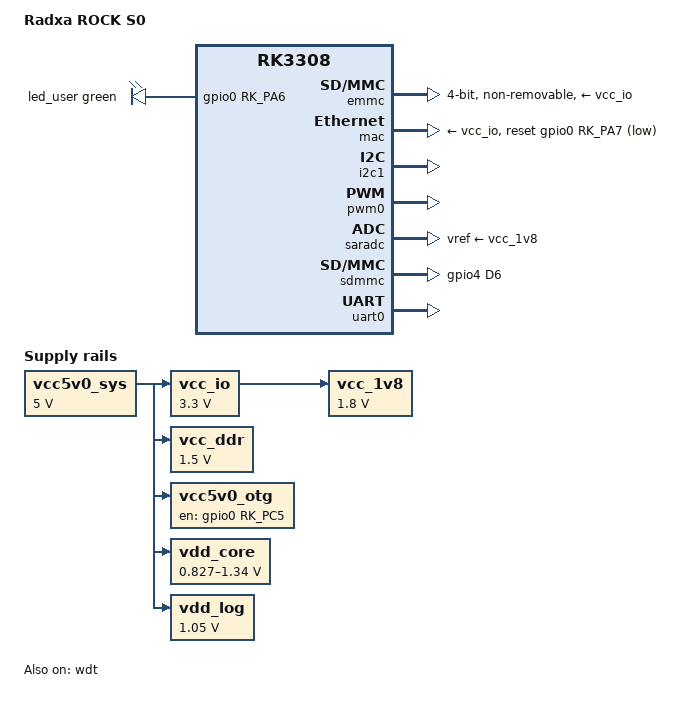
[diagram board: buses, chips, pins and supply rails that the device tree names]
// SPDX-License-Identifier: (GPL-2.0+ OR MIT)
/*
 * Copyright (c) 2019 Fuzhou Rockchip Electronics Co., Ltd
 * Copyright (C) 2023 Akash Gajjar <gajjar04akash@gmail.com>
 * Copyright (c) 2023 Jagan Teki <jagan@openedev.com>
 */

/dts-v1/;
#include <dt-bindings/gpio/gpio.h>
#include <dt-bindings/leds/common.h>
#include <dt-bindings/pinctrl/rockchip.h>
#include "rk3308.dtsi"

/ {
	model = "Radxa ROCK S0";
	compatible = "radxa,rock-s0", "rockchip,rk3308";

	aliases {
		ethernet0 = &mac;
		mmc0 = &emmc;
		mmc1 = &sdmmc;
	};

	chosen {
		stdout-path = "serial0:1500000n8";
	};

	gpio-leds {
		compatible = "gpio-leds";

		led_user: led-0 {
			gpios = <&gpio0 RK_PA6 GPIO_ACTIVE_HIGH>;
			function = LED_FUNCTION_HEARTBEAT;
			color = <LED_COLOR_ID_GREEN>;
			linux,default-trigger = "default-on";
			pinctrl-names = "default";
			pinctrl-0 = <&led_user_en>;
		};
	};

	vcc_1v8: vcc-1v8 {
		compatible = "regulator-fixed";
		regulator-name = "vcc_1v8";
		regulator-always-on;
		regulator-boot-on;
		regulator-min-microvolt = <1800000>;
		regulator-max-microvolt = <1800000>;
		vin-supply = <&vcc_io>;
	};

	vcc_io: vcc-io {
		compatible = "regulator-fixed";
		regulator-name = "vcc_io";
		regulator-always-on;
		regulator-boot-on;
		regulator-min-microvolt = <3300000>;
		regulator-max-microvolt = <3300000>;
		vin-supply = <&vcc5v0_sys>;
	};

	vcc_ddr: vcc-ddr {
		compatible = "regulator-fixed";
		regulator-name = "vcc_ddr";
		regulator-always-on;
		regulator-boot-on;
		regulator-min-microvolt = <1500000>;
		regulator-max-microvolt = <1500000>;
		vin-supply = <&vcc5v0_sys>;
	};

	vcc5v0_otg: vcc5v0-otg {
		compatible = "regulator-fixed";
		enable-active-high;
		gpio = <&gpio0 RK_PC5 GPIO_ACTIVE_HIGH>;
		pinctrl-names = "default";
		pinctrl-0 = <&otg_vbus_drv>;
		regulator-name = "vcc5v0_otg";
		regulator-always-on;
		vin-supply = <&vcc5v0_sys>;
	};

	vcc5v0_sys: vcc5v0-sys {
		compatible = "regulator-fixed";
		regulator-name = "vcc5v0_sys";
		regulator-always-on;
		regulator-boot-on;
		regulator-min-microvolt = <5000000>;
		regulator-max-microvolt = <5000000>;
	};

	vdd_core: vdd-core {
		compatible = "pwm-regulator";
		pwms = <&pwm0 0 5000 1>;
		pwm-supply = <&vcc5v0_sys>;
		regulator-name = "vdd_core";
		regulator-min-microvolt = <827000>;
		regulator-max-microvolt = <1340000>;
		regulator-init-microvolt = <1015000>;
		regulator-settling-time-up-us = <250>;
		regulator-always-on;
		regulator-boot-on;
	};

	vdd_log: vdd-log {
		compatible = "regulator-fixed";
		regulator-name = "vdd_log";
		regulator-always-on;
		regulator-boot-on;
		regulator-min-microvolt = <1050000>;
		regulator-max-microvolt = <1050000>;
		vin-supply = <&vcc5v0_sys>;
	};
};

&cpu0 {
	cpu-supply = <&vdd_core>;
};

&emmc {
	bus-width = <4>;
	cap-mmc-highspeed;
	mmc-hs200-1_8v;
	non-removable;
	vmmc-supply = <&vcc_io>;
	status = "okay";
};

&mac {
	clock_in_out = "output";
	phy-supply = <&vcc_io>;
	snps,reset-gpio = <&gpio0 RK_PA7 GPIO_ACTIVE_LOW>;
	snps,reset-active-low;
	snps,reset-delays-us = <0 50000 50000>;
	status = "okay";
};

&i2c1 {
	status = "okay";
};

&pinctrl {
	pinctrl-names = "default";
	pinctrl-0 = <&rtc_32k>;

	leds {
		led_user_en: led-user-en {
			rockchip,pins = <0 RK_PA6 RK_FUNC_GPIO &pcfg_pull_none>;
		};
	};

	usb {
		otg_vbus_drv: otg-vbus-drv {
			rockchip,pins = <0 RK_PC5 RK_FUNC_GPIO &pcfg_pull_none>;
		};
	};

	sdmmc {
		sdmmc_pwren: sdmmc-pwren {
			rockchip,pins =
				<4 RK_PD6 0 &pcfg_pull_down>;
		};
	};
};

&pwm0 {
	status = "okay";
	pinctrl-0 = <&pwm0_pin_pull_down>;
};

&saradc {
	vref-supply = <&vcc_1v8>;
	status = "okay";
};

&sdmmc {
	cap-sd-highspeed;
	pinctrl-0 = <&sdmmc_clk &sdmmc_cmd &sdmmc_det &sdmmc_pwren &sdmmc_bus4>;
	status = "okay";
};

&uart0 {
	status = "okay";
};

&wdt {
	status = "okay";
};
